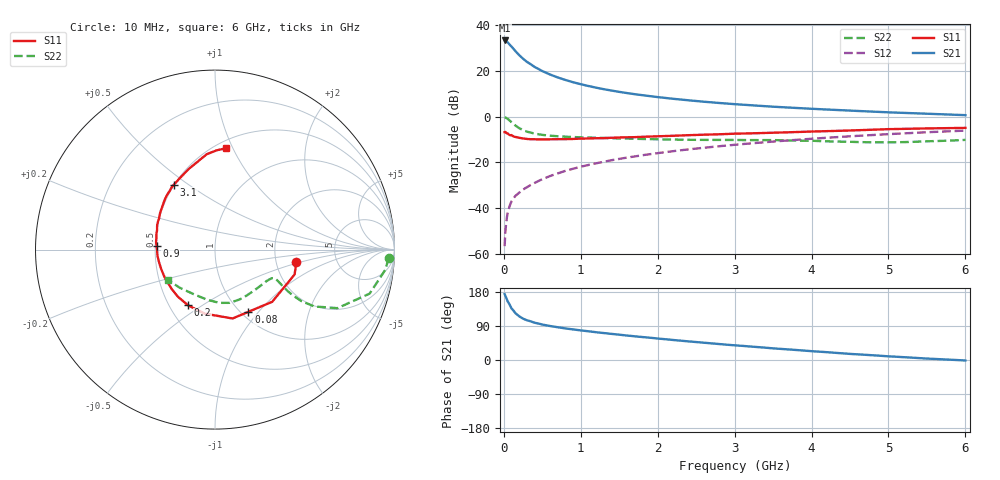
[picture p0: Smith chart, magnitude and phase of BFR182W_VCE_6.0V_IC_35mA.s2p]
! Infineon Technologies  Discrete & RF Semiconductors
! BFR182W
! VCE =  6.0 V,  IC =  35 mA
! Common Emitter S-Parameters:  Jan 2017
# GHz  S  MA  R  50
!  f  S11  S21  S12  S22
! GHz  MAG  ANG  MAG  ANG  MAG  ANG  MAG  ANG
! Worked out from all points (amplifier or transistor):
!   77 points, 10 MHz to 6 GHz, reference 50 ohm
!   highest |S21| = 33.2 dB at 10 MHz (marker M1)
!   |S21| within 3 dB of that: start of sweep to 108.9 MHz
!   unconditionally stable (mu >= 1): 598.8 MHz to 2.202 GHz
!   at 130 MHz: K = 0.54, MSG = 32.4 dB, |S12| = -35.4 dB
!   at 2.2 GHz: K = 1.00, MAG = 11.3 dB, |S12| = -15.1 dB
!   at 6 GHz: K = 0.86, MSG = 3.4 dB, |S12| = -6.1 dB
!   S11 on the Smith chart (normalised r, x): 10 MHz: 2.60, -0.46; 80 MHz: 1.08, -0.89; 200 MHz: 0.62, -0.44; 900 MHz: 0.51, +0.02; 3.1 GHz: 0.50, +0.44; 6 GHz: 0.57, +0.94
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0.01  0.4593 -8.7  45.67 174.1  0.0015 88.9  0.9678 -2.8
0.02  0.4645 -17.4  45.48 169.2  0.0031 87.7  0.9568 -6.6
0.05  0.4315 -42.4  41.67 154.5  0.008 77.5  0.8956 -15.9
0.08  0.3934 -61.8  36.38 144.3  0.0118 71.3  0.8087 -21.3
0.1  0.396 -75.7  33.66 135.9  0.0143 69.0  0.7556 -25.6
0.15  0.3613 -99.4  26.8 123.6  0.0187 66.1  0.6386 -29.8
0.2  0.3447 -116.0  21.82 115.3  0.022 66.9  0.5603 -30.8
0.25  0.3341 -128.3  18.28 109.1  0.0257 66.2  0.5074 -30.5
0.3  0.3262 -137.7  15.6 104.8  0.0289 68.2  0.4696 -29.8
0.4  0.3205 -150.9  12.09 98.3  0.0359 70.4  0.4256 -28.2
0.5  0.3189 -160.5  9.817 93.6  0.0431 70.9  0.4003 -27.0
0.6  0.3199 -168.4  8.28 89.7  0.0506 72.3  0.3839 -26.2
0.7  0.3223 -173.9  7.144 86.5  0.0577 73.7  0.3734 -25.9
0.9  0.326 176.4  5.608 80.7  0.0731 73.5  0.359 -26.3
1.1  0.3334 168.4  4.642 75.8  0.0883 73.9  0.3499 -27.8
1.3  0.3399 161.7  3.956 71.1  0.1037 73.0  0.3421 -29.8
1.5  0.3509 156.6  3.46 66.8  0.1197 72.5  0.3345 -32.5
2.1  0.3769 141.7  2.553 54.8  0.168 69.1  0.3178 -43.4
3.1  0.4276 122.5  1.821 37.3  0.2514 61.5  0.3085 -65.8
4.1  0.4772 106.6  1.454 22.0  0.3375 52.6  0.2933 -88.1
5.1  0.5367 93.8  1.222 8.6  0.4228 42.6  0.2762 -119.5
6  0.568 83.6  1.076 -1.3  0.4951 33.0  0.3109 -147.0
